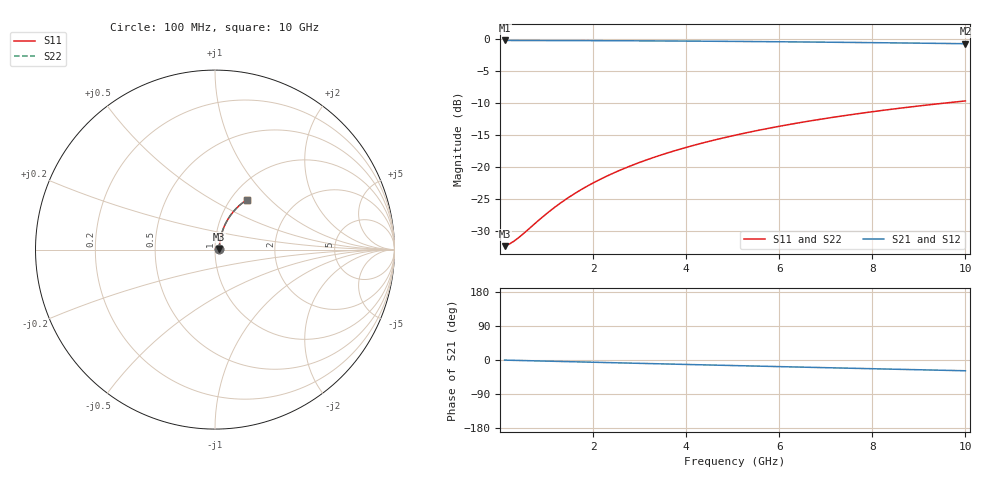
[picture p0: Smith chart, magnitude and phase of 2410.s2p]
# Hz S RI R 50.00
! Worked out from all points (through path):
!   100 points, 100 MHz to 10 GHz, reference 50 ohm
!   highest |S21| = -0.21 dB at 100 MHz (marker M1); lowest = -0.7 dB at 10 GHz (marker M2)
!   group delay of S21, straight-line fit = 7.91 ps
!   lowest |S11| = -32.4 dB at 100 MHz (marker M3), VSWR 1.05, Z = 52.4 + j0.36 ohm
!   |S11| at or under -10 dB: start of sweep to 9.566 GHz
!   |S22| runs from -32.4 to -9.7 dB; largest |S21 - S12| = 0
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1e8  0.0238 0.00343  0.9762 -0.00503  0.9762 -0.00503  0.0238 0.00343
2e8  0.024 0.00685  0.976 -0.0101  0.976 -0.0101  0.024 0.00685
3e8  0.0242 0.0103  0.9758 -0.0151  0.9758 -0.0151  0.0242 0.0103
4e8  0.0244 0.0137  0.9756 -0.0201  0.9756 -0.0201  0.0244 0.0137
9e8  0.0258 0.0308  0.974 -0.0452  0.974 -0.0452  0.0258 0.0308
1.2e9  0.0271 0.0409  0.9727 -0.0601  0.9727 -0.0601  0.0271 0.0409
1.5e9  0.0286 0.0511  0.9711 -0.0751  0.9711 -0.0751  0.0286 0.0511
1.8e9  0.0304 0.0611  0.9691 -0.0899  0.9691 -0.0899  0.0304 0.0611
2.1e9  0.0326 0.0711  0.9668 -0.1047  0.9668 -0.1047  0.0326 0.0711
2.5e9  0.0359 0.0843  0.9633 -0.1243  0.9633 -0.1243  0.0359 0.0843
2.9e9  0.0397 0.0973  0.9592 -0.1438  0.9592 -0.1438  0.0397 0.0973
3.4e9  0.0452 0.1133  0.9533 -0.1678  0.9533 -0.1678  0.0452 0.1133
3.8e9  0.0501 0.1258  0.948 -0.1867  0.948 -0.1867  0.0501 0.1258
4.2e9  0.0555 0.1381  0.9421 -0.2054  0.9421 -0.2054  0.0555 0.1381
4.6e9  0.0614 0.1501  0.9357 -0.2238  0.9357 -0.2238  0.0614 0.1501
5.1e9  0.0694 0.1646  0.9271 -0.2464  0.9271 -0.2464  0.0694 0.1646
5.9e9  0.0836 0.1869  0.9118 -0.2816  0.9118 -0.2816  0.0836 0.1869
6.7e9  0.0993 0.2077  0.8947 -0.3153  0.8947 -0.3153  0.0993 0.2077
7.5e9  0.1164 0.227  0.8761 -0.3476  0.8761 -0.3476  0.1164 0.227
8.4e9  0.137 0.2469  0.8536 -0.382  0.8536 -0.382  0.137 0.2469
9.2e9  0.1565 0.2627  0.8322 -0.4109  0.8322 -0.4109  0.1565 0.2627
1e10  0.1768 0.2768  0.8099 -0.438  0.8099 -0.438  0.1768 0.2768
